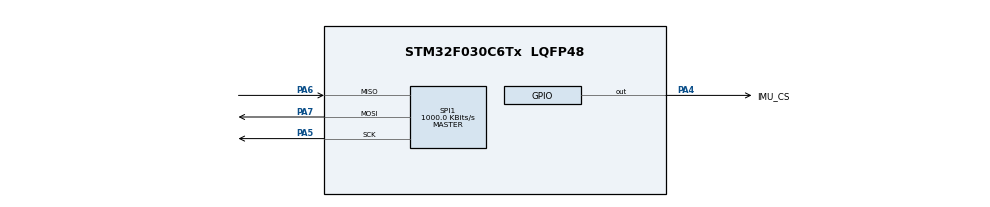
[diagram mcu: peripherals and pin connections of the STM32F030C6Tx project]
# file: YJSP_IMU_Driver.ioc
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Mcu.Family=STM32F0
Mcu.Name=STM32F030C6Tx
Mcu.Package=LQFP48
PA4.GPIO_Label=IMU_CS
PA4.PinState=GPIO_PIN_SET
PA4.Signal=GPIO_Output
PA5.Mode=Full_Duplex_Master
PA5.Signal=SPI1_SCK
PA6.Mode=Full_Duplex_Master
PA6.Signal=SPI1_MISO
PA7.Mode=Full_Duplex_Master
PA7.Signal=SPI1_MOSI
ProjectManager.HeapSize=0x200
ProjectManager.StackSize=0x400
ProjectManager.TargetToolchain=STM32CubeIDE
SPI1.BaudRatePrescaler=SPI_BAUDRATEPRESCALER_8
SPI1.CLKPhase=SPI_PHASE_2EDGE
SPI1.CLKPolarity=SPI_POLARITY_HIGH
SPI1.CalculateBaudRate=1000.0 KBits/s
SPI1.DataSize=SPI_DATASIZE_8BIT
SPI1.Direction=SPI_DIRECTION_2LINES
SPI1.Mode=SPI_MODE_MASTER
SPI1.VirtualType=VM_MASTER
board=custom

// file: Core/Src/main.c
/* USER CODE BEGIN Header */
/**
  ******************************************************************************
  * @file           : main.c
  * @brief          : Main program body
  ******************************************************************************
  */
/* USER CODE END Header */

#include "main.h"

/* USER CODE BEGIN Includes */
#include <stdint.h>
#include <stdio.h>
#include <math.h>
/* USER CODE END Includes */

/* USER CODE BEGIN PTD */

typedef struct
{
    int16_t gyro_x;
    int16_t gyro_y;
    int16_t gyro_z;

    int16_t accel_x;
    int16_t accel_y;
    int16_t accel_z;
} IMU_RawData;

typedef struct
{
    float gyro_x_dps;
    float gyro_y_dps;
    float gyro_z_dps;

    float accel_x_ms2;
    float accel_y_ms2;
    float accel_z_ms2;
} IMU_Data;

/* USER CODE END PTD */

/* USER CODE BEGIN PD */

// Gyroscope
#define OUTX_L_G   0x22
#define OUTX_H_G   0x23
#define OUTY_L_G   0x24
#define OUTY_H_G   0x25
#define OUTZ_L_G   0x26
#define OUTZ_H_G   0x27

// Accelerometer
#define OUTX_L_A   0x28
#define OUTX_H_A   0x29
#define OUTY_L_A   0x2A
#define OUTY_H_A   0x2B
#define OUTZ_L_A   0x2C
#define OUTZ_H_A   0x2D

#define WHO_AM_I_REG   0x0F
#define CTRL1_XL       0x10
#define CTRL2_G        0x11
#define CTRL3_C        0x12

/* USER CODE END PD */

SPI_HandleTypeDef hspi1;

/* USER CODE BEGIN PV */

static const uint8_t imu_data_registers[12] =
{
    OUTX_L_G,
    OUTX_H_G,
    OUTY_L_G,
    OUTY_H_G,
    OUTZ_L_G,
    OUTZ_H_G,

    OUTX_L_A,
    OUTX_H_A,
    OUTY_L_A,
    OUTY_H_A,
    OUTZ_L_A,
    OUTZ_H_A
};

static IMU_RawData imu_raw;
static IMU_Data imu_data;

volatile uint8_t who_am_i;
volatile float accel_magnitude;

/* USER CODE END PV */

void SystemClock_Config(void);
static void MX_GPIO_Init(void);
static void MX_SPI1_Init(void);

/* USER CODE BEGIN PFP */

extern void initalise_monitor_handles(void);
uint8_t IMU_ReadRegister(uint8_t reg);
void IMU_ReadRegisters(uint8_t reg, uint8_t *data, uint16_t len);
void IMU_WriteRegister(uint8_t reg, uint8_t val);
void IMU_ReadRaw(IMU_RawData *imu);
void IMU_ReadRawBurst(IMU_RawData *imu);
void IMU_Convert(const IMU_RawData *raw, IMU_Data *data);
void IMU_Display(IMU_Data *imu);
void IMU_Init(void);

/* USER CODE END PFP */

int main(void)
{

    HAL_Init();

    SystemClock_Config();

    MX_GPIO_Init();
    MX_SPI1_Init();

    /* USER CODE BEGIN 2 */

    initialise_monitor_handles();

    printf("Semihosting works!\r\n");
    fflush(stdout);

    IMU_Init();

    uint32_t next_sample = HAL_GetTick();

    /* USER CODE END 2 */

    /* Infinite loop */
    while (1)
    {

        if ((int32_t)(HAL_GetTick() - next_sample) >= 0)
        {
            next_sample += 5;

            IMU_ReadRawBurst(&imu_raw);

            IMU_Convert(&imu_raw, &imu_data);

            float ax = imu_data.accel_x_ms2;
            float ay = imu_data.accel_y_ms2;
            float az = imu_data.accel_z_ms2;

            accel_magnitude = sqrtf(
                ax * ax + ay * ay + az * az
            );
        }

    }
}

void SystemClock_Config(void)
{
    RCC_OscInitTypeDef RCC_OscInitStruct = {0};
    RCC_ClkInitTypeDef RCC_ClkInitStruct = {0};

    RCC_OscInitStruct.OscillatorType = RCC_OSCILLATORTYPE_HSI;
    RCC_OscInitStruct.HSIState = RCC_HSI_ON;
    RCC_OscInitStruct.HSICalibrationValue = RCC_HSICALIBRATION_DEFAULT;
    RCC_OscInitStruct.PLL.PLLState = RCC_PLL_NONE;

    if (HAL_RCC_OscConfig(&RCC_OscInitStruct) != HAL_OK)
    {
        Error_Handler();
    }

    RCC_ClkInitStruct.ClockType = RCC_CLOCKTYPE_HCLK | RCC_CLOCKTYPE_SYSCLK
                               | RCC_CLOCKTYPE_PCLK1;
    RCC_ClkInitStruct.SYSCLKSource = RCC_SYSCLKSOURCE_HSI;
    RCC_ClkInitStruct.AHBCLKDivider = RCC_SYSCLK_DIV1;
    RCC_ClkInitStruct.APB1CLKDivider = RCC_HCLK_DIV1;

    if (HAL_RCC_ClockConfig(&RCC_ClkInitStruct, FLASH_LATENCY_0) != HAL_OK)
    {
        Error_Handler();
    }
}

static void MX_SPI1_Init(void)
{

    hspi1.Instance = SPI1;
    hspi1.Init.Mode = SPI_MODE_MASTER;
    hspi1.Init.Direction = SPI_DIRECTION_2LINES;
    hspi1.Init.DataSize = SPI_DATASIZE_8BIT;
    hspi1.Init.CLKPolarity = SPI_POLARITY_HIGH;
    hspi1.Init.CLKPhase = SPI_PHASE_2EDGE;
    hspi1.Init.NSS = SPI_NSS_SOFT;
    hspi1.Init.BaudRatePrescaler = SPI_BAUDRATEPRESCALER_8;
    hspi1.Init.FirstBit = SPI_FIRSTBIT_MSB;
    hspi1.Init.TIMode = SPI_TIMODE_DISABLE;
    hspi1.Init.CRCCalculation = SPI_CRCCALCULATION_DISABLE;
    hspi1.Init.CRCPolynomial = 7;
    hspi1.Init.CRCLength = SPI_CRC_LENGTH_DATASIZE;
    hspi1.Init.NSSPMode = SPI_NSS_PULSE_DISABLE;

    if (HAL_SPI_Init(&hspi1) != HAL_OK)
    {
        Error_Handler();
    }

}

static void MX_GPIO_Init(void)
{
    GPIO_InitTypeDef GPIO_InitStruct = {0};

    __HAL_RCC_GPIOA_CLK_ENABLE();

    HAL_GPIO_WritePin(IMU_CS_GPIO_Port, IMU_CS_Pin, GPIO_PIN_SET);

    GPIO_InitStruct.Pin = IMU_CS_Pin;
    GPIO_InitStruct.Mode = GPIO_MODE_OUTPUT_PP;
    GPIO_InitStruct.Pull = GPIO_NOPULL;
    GPIO_InitStruct.Speed = GPIO_SPEED_FREQ_LOW;

    HAL_GPIO_Init(IMU_CS_GPIO_Port, &GPIO_InitStruct);

}

/* USER CODE BEGIN 4 */

uint8_t IMU_ReadRegister(uint8_t reg)
{
    uint8_t tx[2];
    uint8_t rx[2] = {0};

    tx[0] = reg | 0x80;
    tx[1] = 0x00;

    HAL_GPIO_WritePin(IMU_CS_GPIO_Port, IMU_CS_Pin, GPIO_PIN_RESET);

    HAL_StatusTypeDef status =
        HAL_SPI_TransmitReceive(&hspi1, tx, rx, 2, 100);

    HAL_GPIO_WritePin(IMU_CS_GPIO_Port, IMU_CS_Pin, GPIO_PIN_SET);

    if (status != HAL_OK)
    {
        Error_Handler();
    }

    return rx[1];
}

void IMU_ReadRegisters(uint8_t reg, uint8_t *data, uint16_t len)
{
    uint8_t command = reg | 0x80;

    HAL_GPIO_WritePin(IMU_CS_GPIO_Port, IMU_CS_Pin, GPIO_PIN_RESET);

    HAL_StatusTypeDef status =
        HAL_SPI_Transmit(&hspi1, &command, 1, 100);

    if (status == HAL_OK)
    {
        status = HAL_SPI_Receive(&hspi1, data, len, 100);
    }

    HAL_GPIO_WritePin(IMU_CS_GPIO_Port, IMU_CS_Pin, GPIO_PIN_SET);

    if (status != HAL_OK)
    {
        Error_Handler();
    }
}

void IMU_WriteRegister(uint8_t reg, uint8_t val)
{
    uint8_t tx[2];

    tx[0] = reg & 0x7F;
    tx[1] = val;

    HAL_GPIO_WritePin(IMU_CS_GPIO_Port, IMU_CS_Pin, GPIO_PIN_RESET);

    HAL_StatusTypeDef status =
        HAL_SPI_Transmit(&hspi1, tx, 2, 100);

    HAL_GPIO_WritePin(IMU_CS_GPIO_Port, IMU_CS_Pin, GPIO_PIN_SET);

    if (status != HAL_OK)
    {
        Error_Handler();
    }
}

void IMU_ReadRaw(IMU_RawData *imu)
{
    uint8_t raw[12];

    for (int i = 0; i < 12; i++)
    {
        raw[i] = IMU_ReadRegister(imu_data_registers[i]);
    }

    imu->gyro_x = (int16_t)(((uint16_t)raw[1] << 8) | raw[0]);
    imu->gyro_y = (int16_t)(((uint16_t)raw[3] << 8) | raw[2]);
    imu->gyro_z = (int16_t)(((uint16_t)raw[5] << 8) | raw[4]);

    imu->accel_x = (int16_t)(((uint16_t)raw[7] << 8) | raw[6]);
    imu->accel_y = (int16_t)(((uint16_t)raw[9] << 8) | raw[8]);
    imu->accel_z = (int16_t)(((uint16_t)raw[11] << 8) | raw[10]);
}

void IMU_ReadRawBurst(IMU_RawData *imu)
{
    uint8_t raw[12];

    IMU_ReadRegisters(OUTX_L_G, raw, 12);

    imu->gyro_x = (int16_t)(((uint16_t)raw[1] << 8) | raw[0]);
    imu->gyro_y = (int16_t)(((uint16_t)raw[3] << 8) | raw[2]);
    imu->gyro_z = (int16_t)(((uint16_t)raw[5] << 8) | raw[4]);

    imu->accel_x = (int16_t)(((uint16_t)raw[7] << 8) | raw[6]);
    imu->accel_y = (int16_t)(((uint16_t)raw[9] << 8) | raw[8]);
    imu->accel_z = (int16_t)(((uint16_t)raw[11] << 8) | raw[10]);
}

void IMU_Convert(const IMU_RawData *raw, IMU_Data *data)
{
    const float accel_sensitivity = 0.244f;
    const float gyro_sensitivity = 0.070f;

    data->accel_x_ms2 =
        raw->accel_x * accel_sensitivity / 1000.0f * 9.80665f;

    data->accel_y_ms2 =
        raw->accel_y * accel_sensitivity / 1000.0f * 9.80665f;

    data->accel_z_ms2 =
        raw->accel_z * accel_sensitivity / 1000.0f * 9.80665f;

    data->gyro_x_dps =
        raw->gyro_x * gyro_sensitivity;

    data->gyro_y_dps =
        raw->gyro_y * gyro_sensitivity;

    data->gyro_z_dps =
        raw->gyro_z * gyro_sensitivity;
}

void IMU_Display(IMU_Data *data)
{
	printf(
	    "Accel: %.2f %.2f %.2f | Gyro: %.2f %.2f %.2f\r\n",
	    data.accel_x_ms2,
		data.accel_y_ms2,
	    data.accel_z_ms2,
	    data.gyro_x_dps,
	    data.gyro_y_dps,
	    data.gyro_z_dps
	);
}

void IMU_Init(void)
{
    uint8_t who = IMU_ReadRegister(WHO_AM_I_REG);

    who_am_i = who;

    if (who != 0x6B)
    {
        Error_Handler();
    }

    IMU_WriteRegister(CTRL3_C, 0x44);
    IMU_WriteRegister(CTRL1_XL, 0x5C);
    IMU_WriteRegister(CTRL2_G, 0x5C);

    HAL_Delay(20);
}

/* USER CODE END 4 */

void Error_Handler(void)
{
    __disable_irq();
    while (1)
    {
    }
}

#ifdef USE_FULL_ASSERT
void assert_failed(uint8_t *file, uint32_t line)
{
    /* USER CODE BEGIN 6 */
    (void)file;
    (void)line;
    /* USER CODE END 6 */
}
#endif
